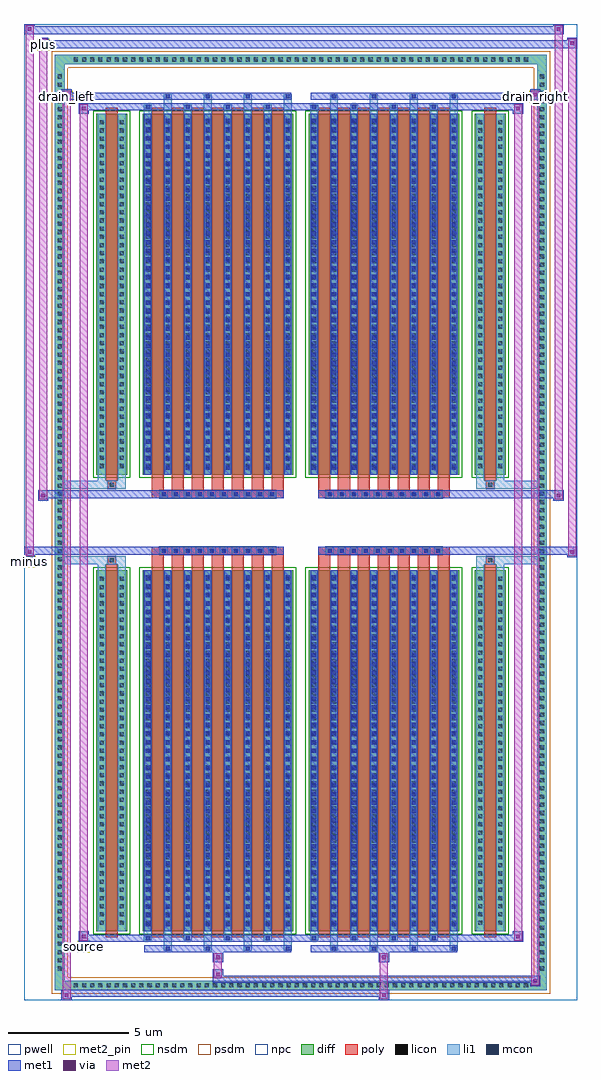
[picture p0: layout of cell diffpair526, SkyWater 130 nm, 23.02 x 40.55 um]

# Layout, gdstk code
import gdstk
lib = gdstk.Library(unit=1e-6, precision=5e-09)
def R(c, l, rs):  # rectangles x0, y0, x1, y1
    for r in rs: c.add(gdstk.rectangle(r[:2], r[2:], *l))
def A(c, l, x, y, w, h, nx, ny, dx, dy):  # array of equal rectangles
    R(c, l, [(x+i*dx, y+j*dy, x+i*dx+w, y+j*dy+h) for i in range(nx) for j in range(ny)])
def P(c, l, *ps):  # polygons
    for p in ps: c.add(gdstk.Polygon(p, *l))
pwell = (64, 44)
diff = (65, 20)
poly = (66, 20)
licon = (66, 44)
li1 = (67, 20)
mcon = (67, 44)
met1 = (68, 20)
via = (68, 44)
met2_pin = (69, 16)
met2 = (69, 20)
nsdm = (93, 44)
psdm = (94, 20)
npc = (95, 20)

diffpair526 = lib.new_cell('diffpair526')
R(diffpair526, pwell, [(-11.49,-19.84,11.49,20.71), (-8.81,-18.03,-0.01,-0.805), (0.01,-18.03,8.81,-0.805), (-8.81,0.805,-0.01,18.03), (0.01,0.805,8.81,18.03)])
A(diffpair526, diff, -9.555, -19.44, 0.41, 0.41, 56, 2, 0.34, 38.47)
A(diffpair526, diff, -10.22, -18.735, 0.41, 0.41, 1, 110, 0, 0.34)
A(diffpair526, diff, 9.81, -18.735, 0.41, 0.41, 1, 110, 0, 0.34)
R(diffpair526, diff, [(-9.555,-19.44,9.555,-19.03), (-10.22,-18.735,-9.81,18.735), (9.81,-18.735,10.22,18.735), (-8.5,-16.985,-7.22,-1.985), (-6.58,-16.985,-0.32,-1.985), (0.32,-16.985,6.58,-1.985), (7.22,-16.985,8.5,-1.985), (-8.5,1.985,-7.22,16.985), (-6.58,1.985,-0.32,16.985), (0.32,1.985,6.58,16.985), (7.22,1.985,8.5,16.985), (-9.555,19.03,9.555,19.44)])
P(diffpair526, diff, [(10.22,19.44),(-10.22,19.44),(-10.22,-19.03),(-9.81,-19.03),(-9.81,19.03),(9.81,19.03),(9.81,-19.03),(-9.81,-19.03),(-10.22,-19.03),(-10.22,-19.44),(10.22,-19.44)])
A(diffpair526, poly, -6.19, -17.235, 0.5, 15.5, 7, 2, 0.83, 18.97)
A(diffpair526, poly, 0.71, -17.235, 0.5, 15.5, 7, 2, 0.83, 18.97)
A(diffpair526, poly, -6.19, -1.735, 0.5, 0.4, 7, 2, 0.83, 3.07)
A(diffpair526, poly, 0.71, -1.735, 0.5, 0.4, 7, 2, 0.83, 3.07)
A(diffpair526, poly, -5.865, -1.335, 0.33, 0.33, 10, 2, 0.5, 2.34)
A(diffpair526, poly, 1.035, -1.335, 0.33, 0.33, 10, 2, 0.5, 2.34)
R(diffpair526, poly, [(-8.11,-17.235,-7.61,-1.735), (7.61,-17.235,8.11,-1.735), (-8.025,-1.735,-7.695,-1.405), (-8.025,-1.735,-7.695,-1.405), (7.695,-1.735,8.025,-1.405), (7.695,-1.735,8.025,-1.405), (-6.19,-1.335,-0.71,-1.005), (0.71,-1.335,6.19,-1.005), (-6.19,1.005,-0.71,1.335), (0.71,1.005,6.19,1.335), (-8.025,1.405,-7.695,1.735), (-8.025,1.405,-7.695,1.735), (7.695,1.405,8.025,1.735), (7.695,1.405,8.025,1.735), (-8.11,1.735,-7.61,17.235), (7.61,1.735,8.11,17.235)])
A(diffpair526, licon, -9.435, -19.32, 0.17, 0.17, 56, 2, 0.34, 38.47)
A(diffpair526, licon, -10.1, -18.615, 0.17, 0.17, 1, 110, 0, 0.34)
A(diffpair526, licon, 9.93, -18.615, 0.17, 0.17, 1, 110, 0, 0.34)
A(diffpair526, licon, -8.36, -16.71, 0.17, 0.17, 1, 43, 0, 0.34)
A(diffpair526, licon, -7.53, -16.71, 0.17, 0.17, 1, 43, 0, 0.34)
A(diffpair526, licon, -6.44, -16.71, 0.17, 0.17, 8, 43, 0.83, 0.34)
A(diffpair526, licon, 0.46, -16.71, 0.17, 0.17, 8, 43, 0.83, 0.34)
A(diffpair526, licon, 7.36, -16.71, 0.17, 0.17, 1, 43, 0, 0.34)
A(diffpair526, licon, 8.19, -16.71, 0.17, 0.17, 1, 43, 0, 0.34)
A(diffpair526, licon, -5.785, -1.255, 0.17, 0.17, 10, 2, 0.5, 2.34)
A(diffpair526, licon, 1.115, -1.255, 0.17, 0.17, 10, 2, 0.5, 2.34)
A(diffpair526, licon, -8.36, 2.26, 0.17, 0.17, 1, 43, 0, 0.34)
A(diffpair526, licon, -7.53, 2.26, 0.17, 0.17, 1, 43, 0, 0.34)
A(diffpair526, licon, -6.44, 2.26, 0.17, 0.17, 8, 43, 0.83, 0.34)
A(diffpair526, licon, 0.46, 2.26, 0.17, 0.17, 8, 43, 0.83, 0.34)
A(diffpair526, licon, 7.36, 2.26, 0.17, 0.17, 1, 43, 0, 0.34)
A(diffpair526, licon, 8.19, 2.26, 0.17, 0.17, 1, 43, 0, 0.34)
R(diffpair526, licon, [(-7.945,-1.655,-7.775,-1.485), (7.775,-1.655,7.945,-1.485), (-7.945,1.485,-7.775,1.655), (7.775,1.485,7.945,1.655)])
A(diffpair526, li1, -9.515, -19.4, 0.33, 0.33, 56, 2, 0.34, 38.47)
A(diffpair526, li1, -10.18, -18.695, 0.33, 0.33, 1, 110, 0, 0.34)
A(diffpair526, li1, 9.85, -18.695, 0.33, 0.33, 1, 110, 0, 0.34)
A(diffpair526, li1, -5.69, -17.79, 0.33, 0.805, 4, 2, 1.66, 34.775)
A(diffpair526, li1, -5.61, -17.79, 0.17, 0.17, 4, 2, 1.66, 35.41)
A(diffpair526, li1, 1.21, -17.79, 0.33, 0.805, 4, 2, 1.66, 34.775)
A(diffpair526, li1, 1.29, -17.79, 0.17, 0.17, 4, 2, 1.66, 35.41)
A(diffpair526, li1, -6.52, -17.36, 0.33, 0.375, 4, 2, 1.66, 34.345)
A(diffpair526, li1, -6.44, -17.36, 0.17, 0.17, 4, 2, 1.66, 34.55)
A(diffpair526, li1, 0.38, -17.36, 0.33, 0.375, 4, 2, 1.66, 34.345)
A(diffpair526, li1, 0.46, -17.36, 0.17, 0.17, 4, 2, 1.66, 34.55)
A(diffpair526, li1, -6.52, -16.985, 0.33, 15, 8, 2, 0.83, 18.97)
A(diffpair526, li1, 0.38, -16.985, 0.33, 15, 8, 2, 0.83, 18.97)
A(diffpair526, li1, -8.44, -16.79, 0.33, 0.33, 1, 43, 0, 0.34)
A(diffpair526, li1, -7.61, -16.79, 0.33, 0.33, 1, 43, 0, 0.34)
A(diffpair526, li1, -6.52, -16.79, 0.33, 0.33, 8, 43, 0.83, 0.34)
A(diffpair526, li1, 0.38, -16.79, 0.33, 0.33, 8, 43, 0.83, 0.34)
A(diffpair526, li1, 7.28, -16.79, 0.33, 0.33, 1, 43, 0, 0.34)
A(diffpair526, li1, 8.11, -16.79, 0.33, 0.33, 1, 43, 0, 0.34)
A(diffpair526, li1, -6.44, -16.77, 0.17, 0.17, 8, 41, 0.83, 0.36)
A(diffpair526, li1, -6.44, -16.77, 0.17, 14.57, 8, 2, 0.83, 18.97)
A(diffpair526, li1, 0.46, -16.77, 0.17, 0.17, 8, 41, 0.83, 0.36)
A(diffpair526, li1, 0.46, -16.77, 0.17, 14.57, 8, 2, 0.83, 18.97)
A(diffpair526, li1, -5.865, -1.335, 0.33, 0.33, 10, 2, 0.5, 2.34)
A(diffpair526, li1, 1.035, -1.335, 0.33, 0.33, 10, 2, 0.5, 2.34)
A(diffpair526, li1, -8.44, 2.18, 0.33, 0.33, 1, 43, 0, 0.34)
A(diffpair526, li1, -7.61, 2.18, 0.33, 0.33, 1, 43, 0, 0.34)
A(diffpair526, li1, -6.52, 2.18, 0.33, 0.33, 8, 43, 0.83, 0.34)
A(diffpair526, li1, 0.38, 2.18, 0.33, 0.33, 8, 43, 0.83, 0.34)
A(diffpair526, li1, 7.28, 2.18, 0.33, 0.33, 1, 43, 0, 0.34)
A(diffpair526, li1, 8.11, 2.18, 0.33, 0.33, 1, 43, 0, 0.34)
A(diffpair526, li1, -6.44, 2.2, 0.17, 0.17, 8, 41, 0.83, 0.36)
A(diffpair526, li1, 0.46, 2.2, 0.17, 0.17, 8, 41, 0.83, 0.36)
R(diffpair526, li1, [(-10.22,-19.44,-9.81,-19.03), (-10.22,-19.44,-9.81,-19.03), (-9.81,-19.44,9.81,-19.03), (9.81,-19.44,10.22,-19.03), (9.81,-19.44,10.22,-19.03), (-10.22,-19.03,-9.81,19.03), (9.81,-19.03,10.22,19.03), (-8.44,-16.985,-8.11,-1.985), (-7.61,-16.985,-7.28,-1.985), (7.28,-16.985,7.61,-1.985), (8.11,-16.985,8.44,-1.985), (-8.44,-1.985,-8.11,-1.405), (-7.61,-1.985,-7.28,-1.405), (7.28,-1.985,7.61,-1.405), (8.11,-1.985,8.44,-1.405), (-10.22,-1.735,-8.025,-1.405), (-8.44,-1.735,-8.025,-1.405), (-8.025,-1.735,-7.695,-1.405), (-7.695,-1.735,-7.28,-1.405), (7.28,-1.735,7.695,-1.405), (7.695,-1.735,8.025,-1.405), (7.695,-1.735,10.22,-1.405), (8.025,-1.735,8.44,-1.405), (-10.22,1.405,-8.025,1.735), (-8.44,1.405,-8.025,1.735), (-8.44,1.405,-8.11,1.985), (-8.025,1.405,-7.695,1.735), (-7.695,1.405,-7.28,1.735), (-7.61,1.405,-7.28,1.985), (7.28,1.405,7.695,1.735), (7.28,1.405,7.61,1.985), (7.695,1.405,8.025,1.735), (7.695,1.405,10.22,1.735), (8.025,1.405,8.44,1.735), (8.11,1.405,8.44,1.985), (-8.44,1.985,-8.11,16.985), (-7.61,1.985,-7.28,16.985), (7.28,1.985,7.61,16.985), (8.11,1.985,8.44,16.985), (-10.22,19.03,-9.81,19.44), (-10.22,19.03,-9.81,19.44), (-9.81,19.03,9.81,19.44), (9.81,19.03,10.22,19.44), (9.81,19.03,10.22,19.44)])
A(diffpair526, mcon, -5.61, -17.79, 0.17, 0.17, 4, 2, 1.66, 35.41)
A(diffpair526, mcon, 1.29, -17.79, 0.17, 0.17, 4, 2, 1.66, 35.41)
A(diffpair526, mcon, -6.44, -17.36, 0.17, 0.17, 4, 2, 1.66, 34.55)
A(diffpair526, mcon, 0.46, -17.36, 0.17, 0.17, 4, 2, 1.66, 34.55)
A(diffpair526, mcon, -6.44, -16.77, 0.17, 0.17, 8, 41, 0.83, 0.36)
A(diffpair526, mcon, 0.46, -16.77, 0.17, 0.17, 8, 41, 0.83, 0.36)
A(diffpair526, mcon, -5.785, -1.255, 0.17, 0.17, 10, 2, 0.5, 2.34)
A(diffpair526, mcon, 1.115, -1.255, 0.17, 0.17, 10, 2, 0.5, 2.34)
A(diffpair526, mcon, -6.44, 2.2, 0.17, 0.17, 8, 41, 0.83, 0.36)
A(diffpair526, mcon, 0.46, 2.2, 0.17, 0.17, 8, 41, 0.83, 0.36)
A(diffpair526, met1, -5.67, -17.85, 0.29, 0.29, 4, 2, 1.66, 35.41)
A(diffpair526, met1, 1.23, -17.85, 0.29, 0.29, 4, 2, 1.66, 35.41)
A(diffpair526, met1, -6.5, -17.42, 0.29, 0.29, 4, 2, 1.66, 34.55)
A(diffpair526, met1, 0.4, -17.42, 0.29, 0.29, 4, 2, 1.66, 34.55)
A(diffpair526, met1, -6.5, -16.985, 0.29, 15, 8, 2, 0.83, 18.97)
A(diffpair526, met1, 0.4, -16.985, 0.29, 15, 8, 2, 0.83, 18.97)
A(diffpair526, met1, -6.5, -16.83, 0.29, 0.29, 8, 41, 0.83, 0.36)
A(diffpair526, met1, 0.4, -16.83, 0.29, 0.29, 8, 41, 0.83, 0.36)
A(diffpair526, met1, -5.845, -1.315, 0.29, 0.29, 10, 2, 0.5, 2.34)
A(diffpair526, met1, 1.055, -1.315, 0.29, 0.29, 10, 2, 0.5, 2.34)
A(diffpair526, met1, -6.5, 2.14, 0.29, 0.29, 8, 41, 0.83, 0.36)
A(diffpair526, met1, 0.4, 2.14, 0.29, 0.29, 8, 41, 0.83, 0.36)
R(diffpair526, met1, [(-9.95,-19.84,-9.52,-19.41), (3.235,-19.84,3.665,-19.41), (-9.95,-19.7,3.665,-19.41), (9.52,-19.27,9.95,-18.84), (-3.665,-19.13,9.95,-18.84), (-3.665,-18.99,-3.235,-18.56), (-3.665,-18.28,-3.235,-17.85), (3.235,-18.28,3.665,-17.85), (-6.5,-17.85,-0.4,-17.56), (0.4,-17.85,6.5,-17.56), (-9.24,-17.42,-8.81,-16.99), (-9.24,-17.42,-6.5,-17.13), (-6.5,-17.42,-0.4,-17.13), (-0.4,-17.42,0.4,-17.13), (0.4,-17.42,6.5,-17.13), (6.5,-17.42,9.24,-17.13), (8.81,-17.42,9.24,-16.99), (-11.49,-1.435,-11.06,-1.005), (11.06,-1.435,11.49,-1.005), (-11.49,-1.335,-0.71,-1.005), (-6.19,-1.335,-0.71,-1.005), (0.71,-1.335,6.19,-1.005), (0.71,-1.335,11.49,-1.005), (-10.92,0.905,-10.49,1.335), (10.49,0.905,10.92,1.335), (-10.92,1.005,-6.19,1.335), (-6.19,1.005,-0.71,1.335), (0.71,1.005,6.19,1.335), (6.19,1.005,10.92,1.335), (-9.24,16.99,-8.81,17.42), (8.81,16.99,9.24,17.42), (-9.24,17.13,-6.5,17.42), (-6.5,17.13,-0.4,17.42), (-0.4,17.13,0.4,17.42), (0.4,17.13,6.5,17.42), (6.5,17.13,9.24,17.42), (-9.95,17.56,-9.52,17.99), (-9.95,17.56,-6.5,17.85), (-6.5,17.56,-0.4,17.85), (0.4,17.56,6.5,17.85), (6.5,17.56,9.95,17.85), (9.52,17.56,9.95,17.99), (-10.92,19.71,-10.49,20.14), (-10.92,19.71,-8.81,20.04), (-8.81,19.71,8.81,20.04), (8.81,19.71,11.49,20.04), (11.06,19.71,11.49,20.14), (-11.49,20.28,-11.06,20.71), (-11.49,20.28,-8.81,20.61), (-8.81,20.28,8.81,20.61), (8.81,20.28,10.92,20.61), (10.49,20.28,10.92,20.71)])
R(diffpair526, via, [(-9.81,-19.7,-9.66,-19.55), (3.375,-19.7,3.525,-19.55), (9.66,-19.13,9.81,-18.98), (-3.525,-18.85,-3.375,-18.7), (-3.525,-18.14,-3.375,-17.99), (3.375,-18.14,3.525,-17.99), (-9.1,-17.28,-8.95,-17.13), (8.95,-17.28,9.1,-17.13), (-11.35,-1.295,-11.2,-1.145), (11.2,-1.295,11.35,-1.145), (-10.78,1.045,-10.63,1.195), (10.63,1.045,10.78,1.195), (-9.1,17.13,-8.95,17.28), (8.95,17.13,9.1,17.28), (-9.81,17.7,-9.66,17.85), (9.66,17.7,9.81,17.85), (-10.78,19.85,-10.63,20), (11.2,19.85,11.35,20), (-11.35,20.42,-11.2,20.57), (10.63,20.42,10.78,20.57)])
R(diffpair526, met2_pin, [(-9.275,-17.87,-8.775,-17.37), (-11.525,-1.885,-11.025,-1.385), (-9.985,17.44,-9.485,17.94), (9.485,17.44,9.985,17.94), (-10.955,19.59,-10.455,20.09)])
R(diffpair526, met2, [(-9.9,-19.79,-9.57,-19.46), (-9.9,-19.79,-9.57,17.94), (3.285,-19.79,3.615,-19.46), (3.285,-19.46,3.615,-18.23), (9.57,-19.22,9.9,-18.89), (9.57,-19.22,9.9,17.94), (-3.615,-18.94,-3.285,-18.61), (-3.615,-18.61,-3.285,-18.23), (-3.615,-18.23,-3.285,-17.9), (3.285,-18.23,3.615,-17.9), (-9.19,-17.37,-8.86,-17.04), (-9.19,-17.37,-8.86,17.37), (8.86,-17.37,9.19,-17.04), (8.86,-17.37,9.19,17.37), (-11.44,-1.385,-11.11,-1.055), (-11.44,-1.385,-11.11,20.66), (11.11,-1.385,11.44,-1.055), (11.11,-1.385,11.44,20.09), (-10.87,0.955,-10.54,1.285), (-10.87,0.955,-10.54,20.09), (10.54,0.955,10.87,1.285), (10.54,0.955,10.87,20.66), (-9.19,17.04,-8.86,17.37), (8.86,17.04,9.19,17.37), (-9.9,17.61,-9.57,17.94), (9.57,17.61,9.9,17.94), (-10.87,19.76,-10.54,20.09), (11.11,19.76,11.44,20.09), (-11.44,20.33,-11.11,20.66), (10.54,20.33,10.87,20.66)])
P(diffpair526, met2, [(11.44,-1.385),(11.44,-1.385),(11.44,-1.055),(11.44,-1.055)],
  [(11.44,19.76),(11.44,19.76),(11.44,20.09),(11.44,20.09)],
  [(-11.11,-1.385),(-11.11,-1.385),(-11.11,-1.055),(-11.11,-1.055)],
  [(-11.11,20.33),(-11.11,20.33),(-11.11,20.66),(-11.11,20.66)],
  [(10.87,0.955),(10.87,0.955),(10.87,1.285),(10.87,1.285)],
  [(10.87,20.33),(10.87,20.33),(10.87,20.66),(10.87,20.66)],
  [(-10.54,0.955),(-10.54,0.955),(-10.54,1.285),(-10.54,1.285)],
  [(-10.54,19.76),(-10.54,19.76),(-10.54,20.09),(-10.54,20.09)],
  [(-9.57,-19.79),(-9.57,-19.79),(-9.57,-19.46),(-9.57,-19.46)],
  [(-9.57,17.61),(-9.57,17.61),(-9.57,17.94),(-9.57,17.94)],
  [(9.9,-19.22),(9.9,-19.22),(9.9,-18.89),(9.9,-18.89)],
  [(9.9,17.61),(9.9,17.61),(9.9,17.94),(9.9,17.94)],
  [(-8.86,-17.37),(-8.86,-17.37),(-8.86,-17.04),(-8.86,-17.04)],
  [(-8.86,17.04),(-8.86,17.04),(-8.86,17.37),(-8.86,17.37)],
  [(9.19,-17.37),(9.19,-17.37),(9.19,-17.04),(9.19,-17.04)],
  [(9.19,17.04),(9.19,17.04),(9.19,17.37),(9.19,17.37)])
R(diffpair526, nsdm, [(-8.63,-17.115,-7.09,-1.855), (-6.71,-17.115,-0.19,-1.855), (0.19,-17.115,6.71,-1.855), (7.09,-17.115,8.63,-1.855), (-8.63,1.855,-7.09,17.115), (-6.71,1.855,-0.19,17.115), (0.19,1.855,6.71,17.115), (7.09,1.855,8.63,17.115)])
P(diffpair526, psdm, [(10.35,19.57),(-10.35,19.57),(-10.35,-18.9),(-9.68,-18.9),(-9.68,18.9),(9.68,18.9),(9.68,-18.9),(-9.68,-18.9),(-10.35,-18.9),(-10.35,-19.57),(10.35,-19.57)])
A(diffpair526, npc, -5.885, -1.355, 0.37, 0.37, 10, 2, 0.5, 2.34)
A(diffpair526, npc, 1.015, -1.355, 0.37, 0.37, 10, 2, 0.5, 2.34)
R(diffpair526, npc, [(-8.045,-1.755,-7.675,-1.385), (7.675,-1.755,8.045,-1.385), (-5.885,-1.355,-5.015,-0.985), (-5.885,-1.355,-5.015,-0.985), (-5.385,-1.355,-4.515,-0.985), (-5.385,-1.355,-4.515,-0.985), (-4.885,-1.355,-4.015,-0.985), (-4.885,-1.355,-4.015,-0.985), (-4.385,-1.355,-3.515,-0.985), (-4.385,-1.355,-3.515,-0.985), (-3.885,-1.355,-3.015,-0.985), (-3.885,-1.355,-3.015,-0.985), (-3.385,-1.355,-2.515,-0.985), (-3.385,-1.355,-2.515,-0.985), (-2.885,-1.355,-2.015,-0.985), (-2.885,-1.355,-2.015,-0.985), (-2.385,-1.355,-1.515,-0.985), (-2.385,-1.355,-1.515,-0.985), (-1.885,-1.355,-1.015,-0.985), (-1.885,-1.355,-1.015,-0.985), (1.015,-1.355,1.885,-0.985), (1.015,-1.355,1.885,-0.985), (1.515,-1.355,2.385,-0.985), (1.515,-1.355,2.385,-0.985), (2.015,-1.355,2.885,-0.985), (2.015,-1.355,2.885,-0.985), (2.515,-1.355,3.385,-0.985), (2.515,-1.355,3.385,-0.985), (3.015,-1.355,3.885,-0.985), (3.015,-1.355,3.885,-0.985), (3.515,-1.355,4.385,-0.985), (3.515,-1.355,4.385,-0.985), (4.015,-1.355,4.885,-0.985), (4.015,-1.355,4.885,-0.985), (4.515,-1.355,5.385,-0.985), (4.515,-1.355,5.385,-0.985), (5.015,-1.355,5.885,-0.985), (5.015,-1.355,5.885,-0.985), (-5.885,0.985,-5.015,1.355), (-5.885,0.985,-5.015,1.355), (-5.385,0.985,-4.515,1.355), (-5.385,0.985,-4.515,1.355), (-4.885,0.985,-4.015,1.355), (-4.885,0.985,-4.015,1.355), (-4.385,0.985,-3.515,1.355), (-4.385,0.985,-3.515,1.355), (-3.885,0.985,-3.015,1.355), (-3.885,0.985,-3.015,1.355), (-3.385,0.985,-2.515,1.355), (-3.385,0.985,-2.515,1.355), (-2.885,0.985,-2.015,1.355), (-2.885,0.985,-2.015,1.355), (-2.385,0.985,-1.515,1.355), (-2.385,0.985,-1.515,1.355), (-1.885,0.985,-1.015,1.355), (-1.885,0.985,-1.015,1.355), (1.015,0.985,1.885,1.355), (1.015,0.985,1.885,1.355), (1.515,0.985,2.385,1.355), (1.515,0.985,2.385,1.355), (2.015,0.985,2.885,1.355), (2.015,0.985,2.885,1.355), (2.515,0.985,3.385,1.355), (2.515,0.985,3.385,1.355), (3.015,0.985,3.885,1.355), (3.015,0.985,3.885,1.355), (3.515,0.985,4.385,1.355), (3.515,0.985,4.385,1.355), (4.015,0.985,4.885,1.355), (4.015,0.985,4.885,1.355), (4.515,0.985,5.385,1.355), (4.515,0.985,5.385,1.355), (5.015,0.985,5.885,1.355), (5.015,0.985,5.885,1.355), (-8.045,1.385,-7.675,1.755), (7.675,1.385,8.045,1.755)])
diffpair526.add(gdstk.Label('minus', (-11.275,-1.635), layer=69, texttype=5))
diffpair526.add(gdstk.Label('drain_right', (9.735,17.69), layer=69, texttype=5))
diffpair526.add(gdstk.Label('drain_left', (-9.735,17.69), layer=69, texttype=5))
diffpair526.add(gdstk.Label('source', (-9.025,-17.62), layer=69, texttype=5))
diffpair526.add(gdstk.Label('plus', (-10.705,19.84), layer=69, texttype=5))

lib.write_gds('diffpair526.gds')
